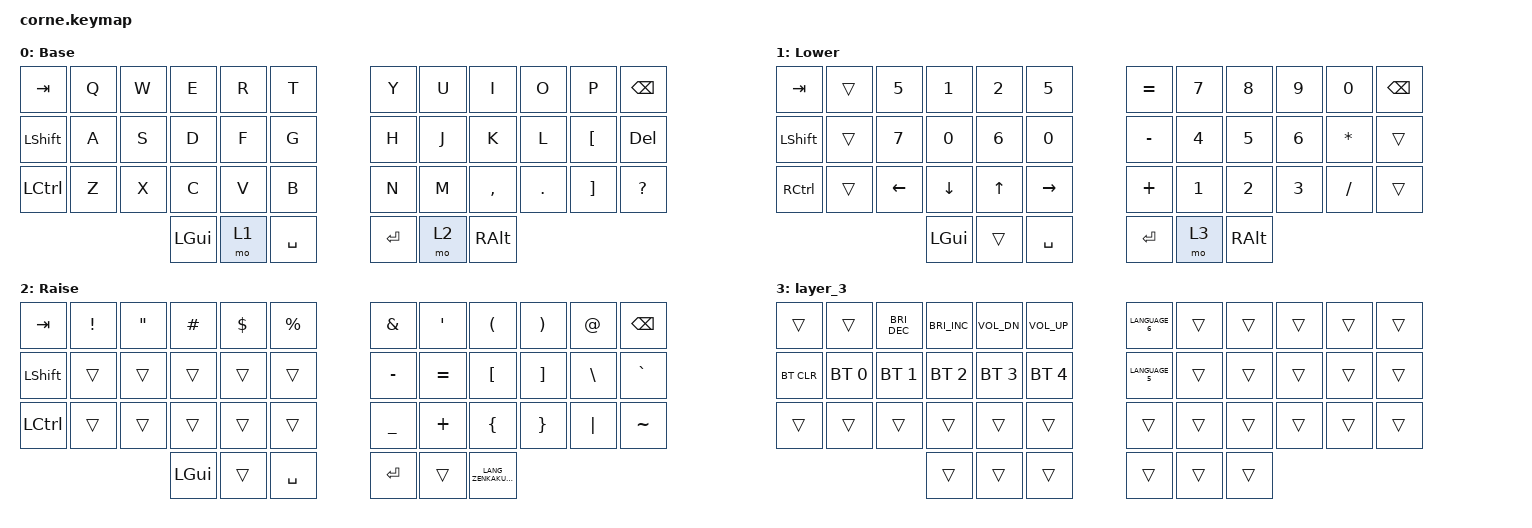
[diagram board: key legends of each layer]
/*
 * Copyright (c) 2020 The ZMK Contributors
 *
 * SPDX-License-Identifier: MIT
 */

#include <behaviors.dtsi>
#include <dt-bindings/zmk/bt.h>
#include <dt-bindings/zmk/keys.h>

/ {
    keymap {
        compatible = "zmk,keymap";

        default_layer {
            // -----------------------------------------------------------------------------------------
            // |  TAB |  Q  |  W  |  E  |  R  |  T  |   |  Y  |  U   |  I  |  O  |  P  | BKSP |
            // | CTRL |  A  |  S  |  D  |  F  |  G  |   |  H  |  J   |  K  |  L  |  ;  |  '   |
            // | SHFT |  Z  |  X  |  C  |  V  |  B  |   |  N  |  M   |  ,  |  .  |  /  | ESC  |
            //                    | GUI | LWR | SPC |   | ENT | RSE  | ALT |

            display-name = "Base";
            bindings = <
&kp TAB           &kp Q  &kp W  &kp E     &kp R  &kp T        &kp Y    &kp U  &kp I      &kp O    &kp P     &kp BSPC
&kp LSHIFT        &kp A  &kp S  &kp D     &kp F  &kp G        &kp H    &kp J  &kp K      &kp L    &kp LBKT  &kp DELETE
&kp LEFT_CONTROL  &kp Z  &kp X  &kp C     &kp V  &kp B        &kp N    &kp M  &kp COMMA  &kp DOT  &kp RBKT  &kp QUESTION
                                &kp LGUI  &mo 1  &kp SPACE    &kp RET  &mo 2  &kp RALT
            >;
        };

        lower_layer {
            // -----------------------------------------------------------------------------------------
            // |  TAB |  1  |  2  |  3  |  4  |  5  |   |  6  |  7  |  8  |  9  |  0  | BKSP |
            // | BTCLR| BT1 | BT2 | BT3 | BT4 | BT5 |   | LFT | DWN |  UP | RGT |     |      |
            // | SHFT |     |     |     |     |     |   |     |     |     |     |     |      |
            //                    | GUI |     | SPC |   | ENT |     | ALT |

            display-name = "Lower";
            bindings = <
&kp TAB            &trans  &kp N5    &kp NUMBER_1    &kp NUMBER_2  &kp N5       &kp EQUAL  &kp N7        &kp N8         &kp N9        &kp N0        &kp BSPC
&kp LEFT_SHIFT     &trans  &kp N7    &kp N0          &kp NUMBER_6  &kp N0       &kp MINUS  &kp NUMBER_4  &kp N5         &kp NUMBER_6  &kp ASTERISK  &trans
&kp RIGHT_CONTROL  &trans  &kp LEFT  &kp DOWN_ARROW  &kp UP_ARROW  &kp RIGHT    &kp PLUS   &kp NUMBER_1  &kp NUMBER_2   &kp NUMBER_3  &kp SLASH     &trans
                                     &kp LGUI        &trans        &kp SPACE    &kp RET    &mo 3         &kp RIGHT_ALT
            >;
        };

        raise_layer {
            // -----------------------------------------------------------------------------------------
            // |  TAB |  !  |  @  |  #  |  $  |  %  |   |  ^  |  &  |  *  |  (  |  )  | BKSP |
            // | CTRL |     |     |     |     |     |   |  -  |  =  |  [  |  ]  |  \  |  `   |
            // | SHFT |     |     |     |     |     |   |  _  |  +  |  {  |  }  | "|" |  ~   |
            //                    | GUI |     | SPC |   | ENT |     | ALT |

            display-name = "Raise";
            bindings = <
&kp TAB           &kp EXCL  &kp DOUBLE_QUOTES  &kp HASH  &kp DLLR  &kp PRCNT    &kp AMPERSAND  &kp SQT    &kp LEFT_PARENTHESIS     &kp RIGHT_PARENTHESIS  &kp AT_SIGN  &kp BSPC
&kp LSHIFT        &trans    &trans             &trans    &trans    &trans       &kp MINUS      &kp EQUAL  &kp LBKT                 &kp RBKT               &kp BSLH     &kp GRAVE
&kp LEFT_CONTROL  &trans    &trans             &trans    &trans    &trans       &kp UNDER      &kp PLUS   &kp LBRC                 &kp RBRC               &kp PIPE     &kp TILDE
                                               &kp LGUI  &trans    &kp SPACE    &kp RET        &trans     &kp LANG_ZENKAKUHANKAKU
            >;
        };

        layer_3 {
            bindings = <
&trans      &trans        &kp C_BRIGHTNESS_DEC  &kp C_BRIGHTNESS_INC  &kp C_VOL_DN  &kp C_VOLUME_UP    &kp LANGUAGE_6  &trans  &trans  &trans  &trans  &trans
&bt BT_CLR  &bt BT_SEL 0  &bt BT_SEL 1          &bt BT_SEL 2          &bt BT_SEL 3  &bt BT_SEL 4       &kp LANGUAGE_5  &trans  &trans  &trans  &trans  &trans
&trans      &trans        &trans                &trans                &trans        &trans             &trans          &trans  &trans  &trans  &trans  &trans
                                                &trans                &trans        &trans             &trans          &trans  &trans
            >;
        };
    };
};
